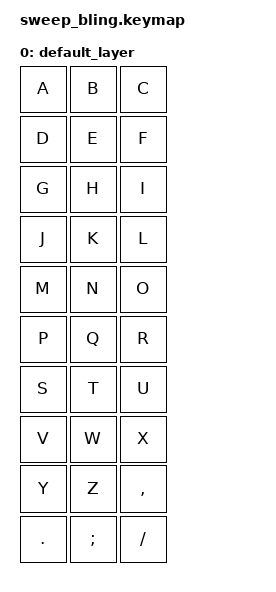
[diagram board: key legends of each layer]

#include <behaviors.dtsi>
#include <dt-bindings/zmk/keys.h>
// // #include <dt-bindings/zmk/pointing.h>

/ {
    keymap {
        compatible = "zmk,keymap";

        default_layer {
            bindings = <
                &kp A &kp B &kp C
                &kp D &kp E &kp F
                &kp G &kp H &kp I
                &kp J &kp K &kp L
                &kp M &kp N &kp O
                &kp P &kp Q &kp R
                &kp S &kp T &kp U
                &kp V &kp W &kp X
                &kp Y &kp Z &kp COMMA
                &kp DOT &kp SEMI &kp SLASH
            >;
        };
    };
};
